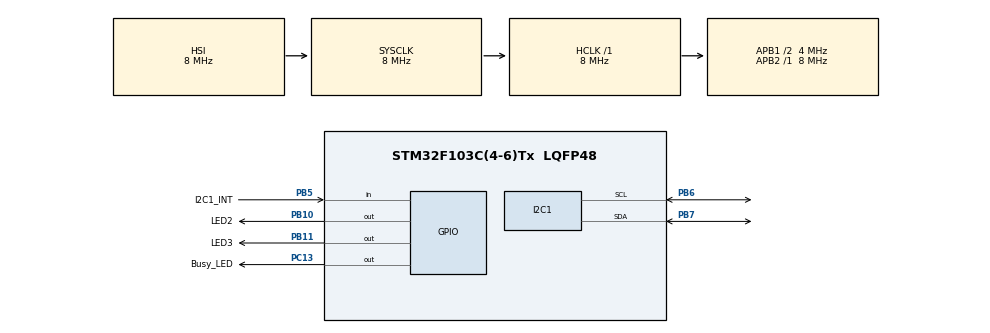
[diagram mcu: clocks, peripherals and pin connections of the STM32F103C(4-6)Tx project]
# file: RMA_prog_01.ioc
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Mcu.Family=STM32F1
Mcu.Name=STM32F103C(4-6)Tx
Mcu.Package=LQFP48
NVIC.PriorityGroup=NVIC_PRIORITYGROUP_4
PA10.Signal=USART1_RX
PA13.Mode=Serial_Wire
PA13.Signal=SYS_JTMS-SWDIO
PA14.Mode=Serial_Wire
PA14.Signal=SYS_JTCK-SWCLK
PA5.Signal=SPI1_SCK
PA6.Signal=SPI1_MISO
PA7.Signal=SPI1_MOSI
PA9.Signal=USART1_TX
PB10.GPIO_Label=LED2
PB10.Signal=GPIO_Output
PB11.GPIO_Label=LED3
PB11.Signal=GPIO_Output
PB5.GPIO_Label=I2C1_INT
PB5.Signal=GPIO_Input
PB6.GPIO_Pu=GPIO_NOPULL
PB6.Mode=I2C
PB6.Signal=I2C1_SCL
PB7.GPIO_Pu=GPIO_NOPULL
PB7.Mode=I2C
PB7.Signal=I2C1_SDA
PC13-TAMPER-RTC.GPIO_Label=Busy_LED
PC13-TAMPER-RTC.Signal=GPIO_Output
PC14-OSC32_IN.Mode=LSE-External-Oscillator
PC14-OSC32_IN.Signal=RCC_OSC32_IN
PC15-OSC32_OUT.Mode=LSE-External-Oscillator
PC15-OSC32_OUT.Signal=RCC_OSC32_OUT
PD0-OSC_IN.Mode=HSE-External-Oscillator
PD0-OSC_IN.Signal=RCC_OSC_IN
PD1-OSC_OUT.Mode=HSE-External-Oscillator
PD1-OSC_OUT.Signal=RCC_OSC_OUT
ProjectManager.HeapSize=0x200
ProjectManager.StackSize=0x400
ProjectManager.TargetToolchain=MDK-ARM V5.27
RCC.AHBFreq_Value=8000000
RCC.APB1CLKDivider=RCC_HCLK_DIV2
RCC.APB1Freq_Value=4000000
RCC.APB1TimFreq_Value=8000000
RCC.APB2Freq_Value=8000000
RCC.APB2TimFreq_Value=8000000
RCC.HCLKFreq_Value=8000000
RCC.SYSCLKFreq_VALUE=8000000
RCC.USBFreq_Value=8000000
board=custom

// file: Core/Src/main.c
/* USER CODE BEGIN Header */
/**
  ******************************************************************************
  * @file           : main.c
  * @brief          : Main program body
  ******************************************************************************
  * @attention
  *
  * Copyright (c) 2022 STMicroelectronics.
  * All rights reserved.
  *
  * This software is licensed under terms that can be found in the LICENSE file
  * in the root directory of this software component.
  * If no LICENSE file comes with this software, it is provided AS-IS.
  *
  ******************************************************************************
  */
/* USER CODE END Header */
#include "main.h"
#include "i2c.h"
#include "gpio.h"

/* USER CODE BEGIN Includes */
  #include "lsm6ds3.h"

/* USER CODE END Includes */

/* USER CODE BEGIN PV */
extern uint16_t 	SlaveAddress;
extern float 			x,y,z;

uint16_t i2c_slave_addr = 0x56;
uint8_t i2c_tx[5] = "Sello";
/* USER CODE END PV */

void SystemClock_Config(void);

int main(void)
{

  /* MCU Configuration--------------------------------------------------------*/

  /* Reset of all peripherals, Initializes the Flash interface and the Systick. */
  HAL_Init();

  /* Configure the system clock */
  SystemClock_Config();

  /* Initialize all configured peripherals */
  MX_GPIO_Init();
  MX_I2C1_Init();
  /* USER CODE BEGIN 2 */
	//I2C_ClearBusyFlagErratum();
	//hi2c1.State = HAL_I2C_STATE_READY;
  find_LSM_address();

	HAL_Delay(1000);

	LSM_init();
  /* USER CODE END 2 */

  /* Infinite loop */
  /* USER CODE BEGIN WHILE */
  while (1)
  {

		//HAL_I2C_IsDeviceReady(&hi2c1,SlaveAddress,3,100);
		//HAL_GPIO_TogglePin(,Test1_Pin);
		//HAL_I2C_Mem_Write_DMA(&hi2c1,i2c_slave_addr
		//HAL_I2C_Master_Transmit(&hi2c1,SlaveAddress,i2c_tx,1,100);
		//HAL_I2C_Master_Transmit_DMA(&hi2c1,i2c_slave_addr,i2c_tx,5);
		HAL_Delay(100);
		//if (HAL_I2C_IsDeviceReady(&hi2c1,SlaveAddress,1,1000) == HAL_OK) HAL_GPIO_TogglePin(Busy_LED_GPIO_Port,Busy_LED_Pin);
		if(accelerationAvailable()){
			HAL_GPIO_TogglePin(Busy_LED_GPIO_Port,Busy_LED_Pin);
			readAcceleration();

		}
		if(readAcceleration()){
			HAL_GPIO_TogglePin(Busy_LED_GPIO_Port,Busy_LED_Pin);
			uint16_t angle_degree (uint16_t angle_measured);
		}
    /* USER CODE END WHILE */

  }
}

void SystemClock_Config(void)
{
  RCC_OscInitTypeDef RCC_OscInitStruct = {0};
  RCC_ClkInitTypeDef RCC_ClkInitStruct = {0};

  /** Initializes the RCC Oscillators according to the specified parameters
  * in the RCC_OscInitTypeDef structure.
  */
  RCC_OscInitStruct.OscillatorType = RCC_OSCILLATORTYPE_HSI;
  RCC_OscInitStruct.HSIState = RCC_HSI_ON;
  RCC_OscInitStruct.HSICalibrationValue = RCC_HSICALIBRATION_DEFAULT;
  RCC_OscInitStruct.PLL.PLLState = RCC_PLL_NONE;
  if (HAL_RCC_OscConfig(&RCC_OscInitStruct) != HAL_OK)
  {
    Error_Handler();
  }

  /** Initializes the CPU, AHB and APB buses clocks
  */
  RCC_ClkInitStruct.ClockType = RCC_CLOCKTYPE_HCLK|RCC_CLOCKTYPE_SYSCLK
                              |RCC_CLOCKTYPE_PCLK1|RCC_CLOCKTYPE_PCLK2;
  RCC_ClkInitStruct.SYSCLKSource = RCC_SYSCLKSOURCE_HSI;
  RCC_ClkInitStruct.AHBCLKDivider = RCC_SYSCLK_DIV1;
  RCC_ClkInitStruct.APB1CLKDivider = RCC_HCLK_DIV2;
  RCC_ClkInitStruct.APB2CLKDivider = RCC_HCLK_DIV1;

  if (HAL_RCC_ClockConfig(&RCC_ClkInitStruct, FLASH_LATENCY_0) != HAL_OK)
  {
    Error_Handler();
  }
}

void Error_Handler(void)
{
  __disable_irq();
  while (1)
  {
  }
}
